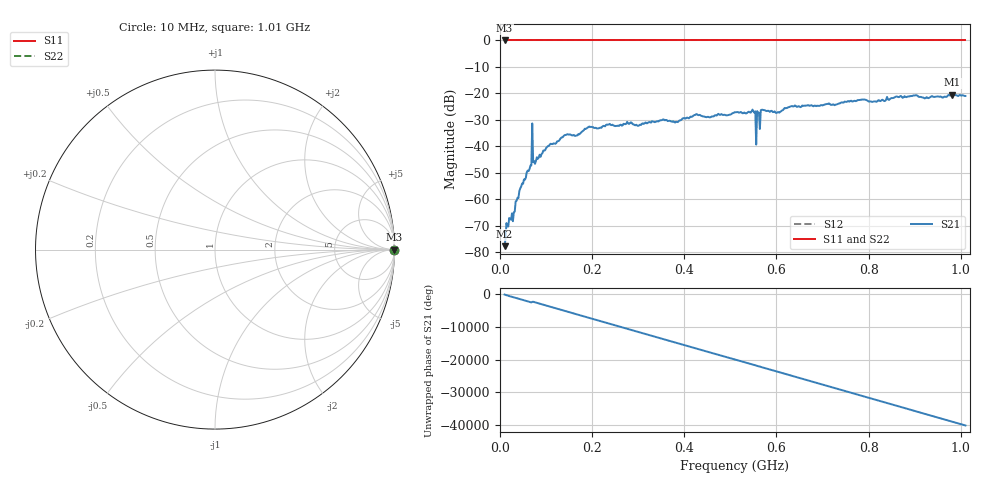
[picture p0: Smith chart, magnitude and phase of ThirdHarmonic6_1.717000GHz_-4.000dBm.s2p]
! 8/16/2025 8:39:31 PM
! C:\ANRITSUVNA\TEMP\TEMP.S2P
! CHANNEL.1
! TR.MEASUREMENT
! RAW.DATA
! RF.CORRECTION.OFF
! AVERAGING.OFF
! IF.BANDWIDTH: 5KHZ
! SWEEPTYPE:  FREQ.SWEEP(Linear)
! Reference Plane Port Info
! PORT:  PORT1  PORT2
! DISTANCE:  0  m  0  m
! TIME:  0  s  0  s
! PHASE.OFFSET:  0  deg.  0  deg.
! LOSS:  0  dB  0  dB
! REF.LOSS:  0  dB  0  dB
! REF.FREQ:  0  Hz  0  Hz
! Power Info
! POWER:  -20  dBm  -20  dBm
! EFF.POWER:  -20  dBm  -20  dBm
! SOURCE.ATTEN:  0  dB  0  dB
! TEST.ATTEN:  0  dB  0  dB
# GHZ S RI R 50.0
! FREQ.GHZ  S11RE  S11IM  S21RE  S21IM  S12RE  S12IM  S22RE  S22IM
!; PortSelection: Port_12
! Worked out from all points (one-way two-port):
!   501 points, 10 MHz to 1.01 GHz, reference 50 ohm
!   highest |S21| = -20.44 dB at 982 MHz (marker M1); lowest = -77.7 dB at 10 MHz (marker M2)
!   lowest |S11| = 0.0 dB at 10 MHz (marker M3)
!   |S11| at or under -10 dB: nowhere
!   |S22| runs from 0.0 to 0.0 dB; largest |S21 - S12| = 1.1
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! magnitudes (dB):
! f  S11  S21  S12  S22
! 10 MHz  0.0  -77.7  0.0  0.0
! 18 MHz  0.0  -70.3  0.0  0.0
! 28 MHz  0.0  -68.3  0.0  0.0
! 46 MHz  0.0  -55.2  0.0  0.0
! 64 MHz  0.0  -48.6  0.0  0.0
! 66 MHz  0.0  -47.2  0.0  0.0
! 70 MHz  0.0  -31.3  0.0  0.0
! 74 MHz  0.0  -45.6  0.0  0.0
! 76 MHz  0.0  -46.6  0.0  0.0
! 138 MHz  0.0  -36.1  0.0  0.0
! 178 MHz  0.0  -34.4  0.0  0.0
! 344 MHz  0.0  -30.6  0.0  0.0
! 510 MHz  0.0  -27.1  0.0  0.0
! 550 MHz  0.0  -26.8  0.0  0.0
! 552 MHz  0.0  -27.3  0.0  0.0
! 560 MHz  0.0  -27.3  0.0  0.0
! 562 MHz  0.0  -27.3  0.0  0.0
! 570 MHz  0.0  -26.2  0.0  0.0
! 678 MHz  0.0  -24.7  0.0  0.0
! 844 MHz  0.0  -22.5  0.0  0.0
! 982 MHz  0.0  -20.4  0.0  0.0
! 1.01 GHz  0.0  -21.0  0.0  0.0
